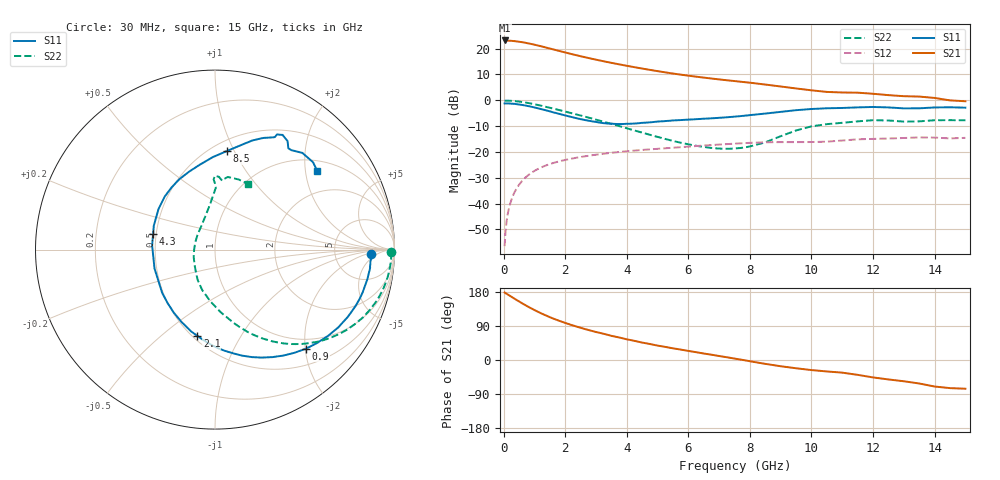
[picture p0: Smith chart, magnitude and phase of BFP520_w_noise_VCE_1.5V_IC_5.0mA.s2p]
! Infineon Technologies  Discrete & RF Semiconductors
! BFP520
! VCE =  1.5 V,  IC =  5.0 mA
! Common Emitter S-Parameters:  Oct 2015
# GHz  S  MA  R  50
!  f  S11  S21  S12  S22
! GHz  MAG  ANG  MAG  ANG  MAG  ANG  MAG  ANG
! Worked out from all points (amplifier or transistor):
!   109 points, 30 MHz to 15 GHz, reference 50 ohm
!   highest |S21| = 23.2 dB at 30 MHz (marker M1)
!   |S21| within 3 dB of that: start of sweep to 1.461 GHz
!   unconditionally stable (mu >= 1): 4.127 GHz to end of sweep
!   at 450 MHz: K = 0.12, MSG = 28.1 dB, |S12| = -33.6 dB
!   at 4 GHz: K = 0.98, MSG = 16.5 dB, |S12| = -19.7 dB
!   at 15 GHz: K = 1.40, MAG = 3.3 dB, |S12| = -14.5 dB
!   lowest NFmin = 1.18 dB at 900 MHz
!   S11 on the Smith chart (normalised r, x): 30 MHz: 14, -3; 900 MHz: 0.80, -2.02; 2.1 GHz: 0.53, -0.67; 4.3 GHz: 0.48, +0.10; 8.5 GHz: 0.59, +0.94; 15 GHz: 1.27, +2.32
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0.03  0.8701 -1.6  14.38 178.1  0.0015 90.4  0.9802 -0.9
0.05  0.8674 -2.6  14.27 176.6  0.0023 89.9  0.9811 -1.6
0.14  0.8694 -7.6  14.28 172.5  0.0067 86.8  0.9806 -5.0
0.3  0.8563 -16.3  14.04 164.4  0.0142 81.8  0.9693 -10.9
0.45  0.8364 -24.3  13.71 156.9  0.021 77.7  0.9508 -16.2
0.7  0.7921 -37.4  12.99 144.9  0.0317 71.2  0.9056 -24.8
0.9  0.7495 -47.4  12.28 136.1  0.0394 66.4  0.8614 -31.1
1.2  0.679 -61.9  11.15 123.8  0.0496 59.9  0.7889 -39.7
1.4  0.633 -71.1  10.39 116.6  0.0555 56.2  0.7395 -44.8
1.7  0.5664 -84.5  9.345 106.6  0.0632 51.2  0.6692 -51.8
2.1  0.4907 -101.5  8.129 95.2  0.072 45.7  0.5832 -59.7
2.6  0.4195 -123.2  6.895 82.6  0.0816 40.0  0.4889 -68.8
3  0.3807 -140.6  6.106 73.8  0.0884 36.0  0.4216 -75.7
3.5  0.3531 -162.6  5.302 63.7  0.0963 31.2  0.349 -85.0
4.3  0.356 165.5  4.314 49.6  0.1068 24.3  0.2552 -102.2
5.1  0.3902 142.2  3.583 36.6  0.1161 18.3  0.1885 -121.5
6.3  0.4317 120.1  2.84 19.9  0.1305 9.8  0.1303 -153.8
7.6  0.4878 97.9  2.318 2.4  0.1457 -0.2  0.1178 156.0
8.5  0.5532 83.1  2.015 -10.2  0.1536 -8.2  0.1534 119.3
10.5  0.7 63.2  1.451 -30.2  0.1581 -20.1  0.3453 89.2
13  0.6968 54.1  1.199 -56.1  0.1861 -38.9  0.3863 84.2
15  0.7192 37.7  0.957 -75.8  0.1873 -54.0  0.4099 63.1
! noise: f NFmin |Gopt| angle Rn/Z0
0.45  1.2  0.47  3  0.32
0.9  1.18  0.45  10  0.34
1.9  1.41  0.39  21  0.29
2.4  1.45  0.35  34  0.28
3.5  1.4  0.32  56  0.26
